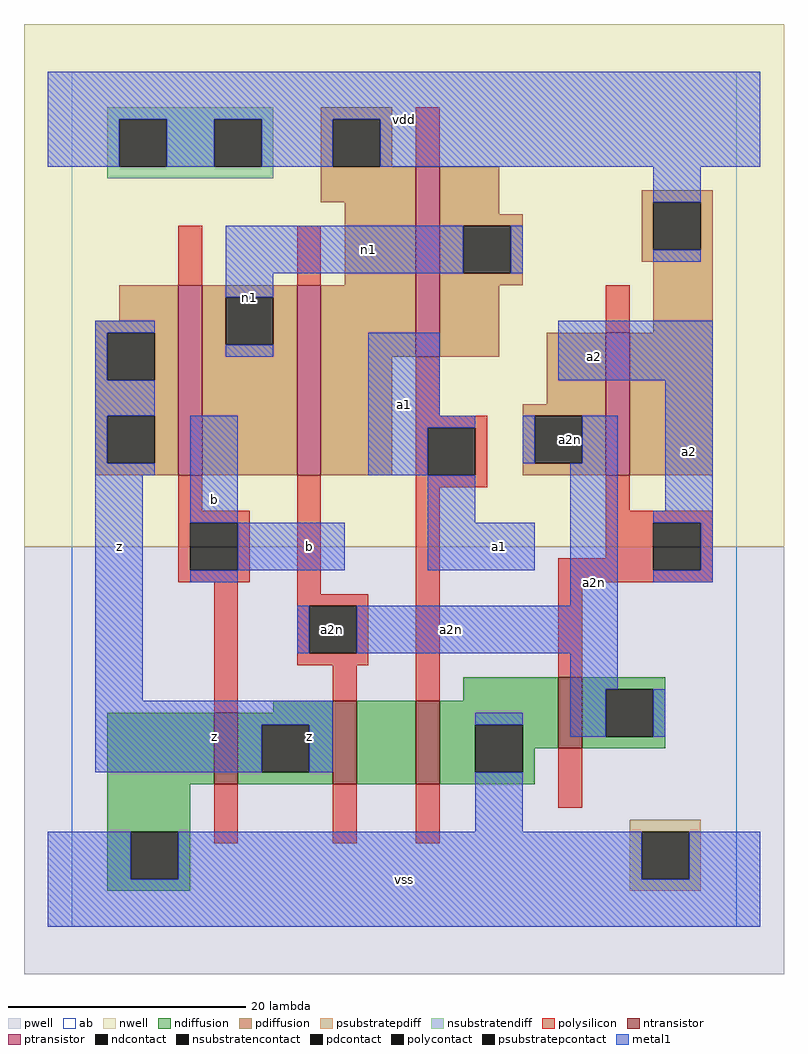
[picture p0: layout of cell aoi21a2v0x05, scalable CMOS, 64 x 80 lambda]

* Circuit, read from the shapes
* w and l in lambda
.subckt aoi21a2v0x05 a1 a2 a2n b n1 vdd vss z
M1 z b vss vss nfet w=6 l=2
M2 n2 a2n z vss nfet w=7 l=2
M3 vss a1 n2 vss nfet w=7 l=2
M4 a2n a2 vss vss nfet w=6 l=2
M5 n1 b z vdd pfet w=16 l=2
M6 vdd a2n n1 vdd pfet w=16 l=2
M7 n1 a1 vdd vdd pfet w=16 l=2
M8 vdd a2 a2n vdd pfet w=12 l=2
.ends

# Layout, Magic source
magic
tech scmos
<< ab >>
rect 0 0 56 72
<< pwell >>
rect -4 -4 60 32
<< nwell >>
rect -4 32 60 76
<< polysilicon >>
rect 29 64 31 69
rect 9 54 11 59
rect 19 54 21 59
rect 45 50 47 54
rect 29 43 31 48
rect 29 42 35 43
rect 29 38 30 42
rect 34 38 35 42
rect 9 35 11 38
rect 9 34 15 35
rect 9 30 10 34
rect 14 30 15 34
rect 9 29 15 30
rect 12 18 14 29
rect 19 28 21 38
rect 29 37 35 38
rect 19 27 25 28
rect 19 23 20 27
rect 24 23 25 27
rect 19 22 25 23
rect 22 19 24 22
rect 29 19 31 37
rect 45 35 47 38
rect 45 34 54 35
rect 45 31 49 34
rect 41 30 49 31
rect 53 30 54 34
rect 41 29 54 30
rect 41 21 43 29
rect 12 7 14 12
rect 22 7 24 12
rect 29 7 31 12
rect 41 10 43 15
<< ndiffusion >>
rect 33 19 41 21
rect 17 18 22 19
rect 3 12 12 18
rect 14 17 22 18
rect 14 13 16 17
rect 20 13 22 17
rect 14 12 22 13
rect 24 12 29 19
rect 31 17 41 19
rect 31 13 34 17
rect 38 15 41 17
rect 43 20 50 21
rect 43 16 45 20
rect 49 16 50 20
rect 43 15 50 16
rect 38 13 39 15
rect 31 12 39 13
rect 3 8 10 12
rect 3 4 5 8
rect 9 4 10 8
rect 3 3 10 4
<< pdiffusion >>
rect 21 68 27 69
rect 21 64 22 68
rect 26 64 27 68
rect 21 61 29 64
rect 23 54 29 61
rect 4 51 9 54
rect 2 50 9 51
rect 2 46 3 50
rect 7 46 9 50
rect 2 43 9 46
rect 2 39 3 43
rect 7 39 9 43
rect 2 38 9 39
rect 11 53 19 54
rect 11 49 13 53
rect 17 49 19 53
rect 11 38 19 49
rect 21 48 29 54
rect 31 60 36 64
rect 48 61 54 62
rect 31 59 38 60
rect 31 55 33 59
rect 37 55 38 59
rect 48 57 49 61
rect 53 57 54 61
rect 48 56 54 57
rect 31 54 38 55
rect 31 48 36 54
rect 49 50 54 56
rect 21 38 27 48
rect 40 44 45 50
rect 38 43 45 44
rect 38 39 39 43
rect 43 39 45 43
rect 38 38 45 39
rect 47 38 54 50
<< metal1 >>
rect -2 68 58 72
rect -2 64 4 68
rect 8 64 12 68
rect 16 64 22 68
rect 26 64 58 68
rect 49 61 53 64
rect 13 55 33 59
rect 37 55 38 59
rect 49 56 53 57
rect 13 53 17 55
rect 2 50 7 51
rect 2 46 3 50
rect 13 48 17 49
rect 2 43 7 46
rect 25 43 31 50
rect 41 46 54 51
rect 2 39 3 43
rect 2 38 7 39
rect 2 19 6 38
rect 10 34 14 43
rect 25 42 34 43
rect 25 38 30 42
rect 38 39 39 43
rect 43 39 46 43
rect 30 34 34 38
rect 14 30 23 34
rect 30 30 39 34
rect 10 29 14 30
rect 42 27 46 39
rect 50 35 54 46
rect 49 34 54 35
rect 53 30 54 34
rect 49 29 54 30
rect 19 23 20 27
rect 24 23 46 27
rect 42 20 46 23
rect 2 17 22 19
rect 2 13 16 17
rect 20 13 22 17
rect 34 17 38 18
rect 42 16 45 20
rect 49 16 50 20
rect 34 8 38 13
rect -2 4 5 8
rect 9 4 48 8
rect 52 4 58 8
rect -2 0 58 4
<< ntransistor >>
rect 12 12 14 18
rect 22 12 24 19
rect 29 12 31 19
rect 41 15 43 21
<< ptransistor >>
rect 9 38 11 54
rect 19 38 21 54
rect 29 48 31 64
rect 45 38 47 50
<< polycontact >>
rect 30 38 34 42
rect 10 30 14 34
rect 20 23 24 27
rect 49 30 53 34
<< ndcontact >>
rect 16 13 20 17
rect 34 13 38 17
rect 45 16 49 20
rect 5 4 9 8
<< pdcontact >>
rect 22 64 26 68
rect 3 46 7 50
rect 3 39 7 43
rect 13 49 17 53
rect 33 55 37 59
rect 49 57 53 61
rect 39 39 43 43
<< psubstratepcontact >>
rect 48 4 52 8
<< nsubstratencontact >>
rect 4 64 8 68
rect 12 64 16 68
<< psubstratepdiff >>
rect 47 8 53 9
rect 47 4 48 8
rect 52 4 53 8
rect 47 3 53 4
<< nsubstratendiff >>
rect 3 68 17 69
rect 3 64 4 68
rect 8 64 12 68
rect 16 64 17 68
rect 3 63 17 64
<< labels >>
rlabel polycontact 22 25 22 25 6 a2n
rlabel metal1 4 32 4 32 6 z
rlabel metal1 20 16 20 16 6 z
rlabel metal1 12 16 12 16 6 z
rlabel metal1 20 32 20 32 6 b
rlabel metal1 12 36 12 36 6 b
rlabel metal1 15 53 15 53 6 n1
rlabel metal1 28 4 28 4 6 vss
rlabel metal1 36 32 36 32 6 a1
rlabel metal1 28 44 28 44 6 a1
rlabel metal1 25 57 25 57 6 n1
rlabel metal1 28 68 28 68 6 vdd
rlabel metal1 32 25 32 25 6 a2n
rlabel metal1 52 40 52 40 6 a2
rlabel metal1 44 29 44 29 6 a2n
rlabel metal1 44 48 44 48 6 a2
rlabel pdcontact 42 41 42 41 6 a2n
<< end >>
